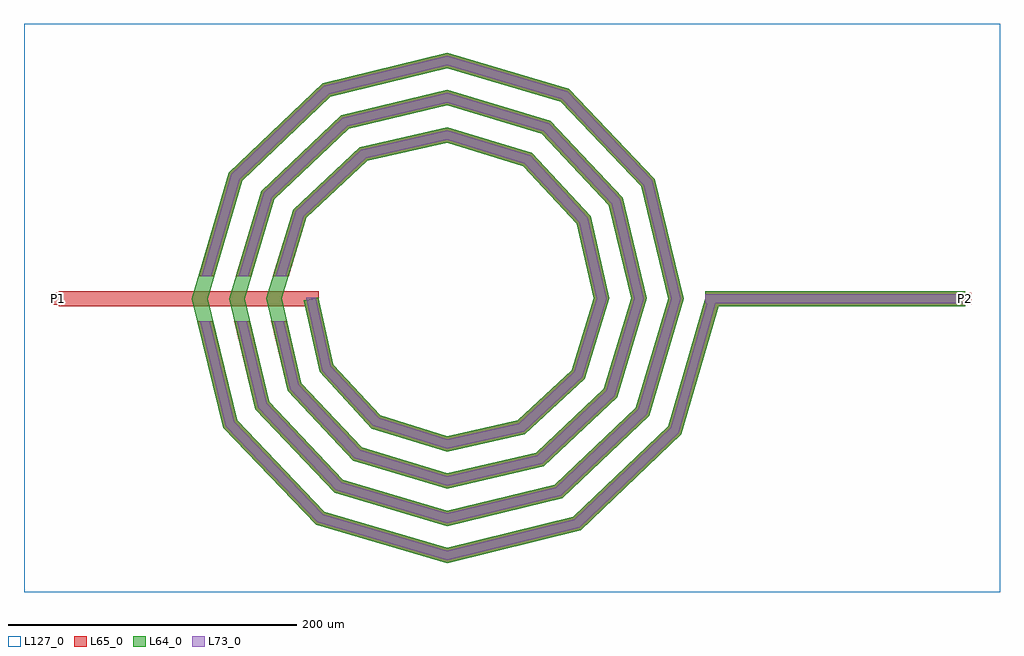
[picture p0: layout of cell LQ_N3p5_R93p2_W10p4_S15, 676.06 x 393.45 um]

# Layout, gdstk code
import gdstk
lib = gdstk.Library(unit=1e-6, precision=1e-09)
def R(c, l, rs):  # rectangles x0, y0, x1, y1
    for r in rs: c.add(gdstk.rectangle(r[:2], r[2:], *l))
def P(c, l, *ps):  # polygons
    for p in ps: c.add(gdstk.Polygon(p, *l))
L64_0 = (64, 0)
L65_0 = (65, 0)
L73_0 = (73, 0)
L127_0 = (127, 0)

lq_n3p5_r93p2_w10p4_s15 = lib.new_cell('LQ_N3p5_R93p2_W10p4_S15')
R(lq_n3p5_r93p2_w10p4_s15, L64_0, [(178.989,-5.2,358.989,5.2)])
P(lq_n3p5_r93p2_w10p4_s15, L64_0, [(-78.723,-45.708),(-46.397,-80.798),(0.213,-95.312),(48.907,-84.292),(86.353,-49.62),(101.734,0.201),(89.86,52.108),(52.841,91.909),(0.189,108.157),(-55.31,95.428),(-97.466,56.061),(-114.58,0.179),(-100.995,-58.513),(-59.281,-103.023),(0.17,-121.002),(61.716,-106.561),(108.581,-62.499),(127.425,0.162),(112.127,64.921),(65.717,114.14),(0.154,133.847),(-68.126,117.693),(-119.698,68.935),(-140.27,0.148),(-123.259,-71.331),(-72.152,-125.257),(0.141,-146.693),(74.538,-128.824),(130.817,-75.368),(153.115,0.136),(134.389,77.744),(78.584,136.376),(0.13,159.538),(-80.951,139.954),(-141.936,81.8),(-165.961,0.125),(-145.518,-84.158),(-85.015,-147.496),(0.121,-172.384),(87.366,-151.083),(153.056,-88.23),(179.196,1.455),(189.181,-1.455),(162.26,-93.817),(92.541,-160.525),(0.121,-183.148),(-90.61,-156.696),(-154.965,-89.326),(-176.725,0.125),(-151.131,87.402),(-86.11,149.405),(0.13,170.302),(84.195,145.566),(143.845,82.894),(163.879,0.136),(140.001,-80.988),(79.678,-138.285),(0.141,-157.456),(-77.782,-134.435),(-132.726,-76.461),(-151.033,0.148),(-128.87,74.576),(-73.244,127.167),(0.154,144.61),(71.371,123.304),(121.608,70.026),(138.187,0.162),(117.737,-68.166),(66.808,-116.049),(0.17,-131.764),(-64.961,-112.171),(-110.491,-63.589),(-125.341,0.179),(-106.603,61.758),(-60.369,104.933),(0.189,118.918),(58.556,101.035),(99.376,57.148),(112.495,0.201),(95.467,-55.354),(53.925,-93.819),(0.213,-106.072),(-52.154,-89.897),(-88.264,-50.702),(-99.344,-1.134),(-89.194,1.134)])
R(lq_n3p5_r93p2_w10p4_s15, L65_0, [(-269.069,-5.2,-89.069,5.2), (178.989,-5.2,358.989,5.2), (-273.069,-4,-265.069,4), (354.989,-4,362.989,4)])
P(lq_n3p5_r93p2_w10p4_s15, L65_0, [(-145.519,-84.158),(-85.015,-147.496),(0.121,-172.384),(87.366,-151.083),(153.056,-88.23),(179.197,1.455),(189.181,-1.455),(162.26,-93.817),(92.541,-160.525),(0.121,-183.148),(-90.61,-156.696),(-154.965,-89.326),(-172.9,-15.6),(-162.196,-15.6)],
  [(-123.259,-71.332),(-72.152,-125.257),(0.141,-146.693),(74.538,-128.824),(130.816,-75.368),(153.115,0.136),(134.389,77.744),(78.584,136.376),(0.13,159.538),(-80.951,139.954),(-141.936,81.8),(-161.349,15.6),(-172.187,15.6),(-151.131,87.402),(-86.11,149.405),(0.13,170.302),(84.195,145.566),(143.845,82.894),(163.879,0.136),(140.001,-80.988),(79.678,-138.285),(0.141,-157.456),(-77.782,-134.435),(-132.726,-76.461),(-147.27,-15.6),(-136.577,-15.6)],
  [(-100.995,-58.513),(-59.281,-103.023),(0.17,-121.002),(61.716,-106.561),(108.581,-62.499),(127.425,0.162),(112.127,64.921),(65.717,114.14),(0.154,133.847),(-68.126,117.693),(-119.698,68.935),(-135.581,15.6),(-146.432,15.6),(-128.87,74.576),(-73.244,127.167),(0.154,144.61),(71.371,123.304),(121.608,70.026),(138.187,0.162),(117.737,-68.166),(66.808,-116.049),(0.17,-131.764),(-64.962,-112.171),(-110.491,-63.589),(-121.667,-15.6),(-110.988,-15.6)],
  [(-46.397,-80.798),(0.214,-95.312),(48.908,-84.292),(86.353,-49.62),(101.735,0.201),(89.86,52.108),(52.841,91.909),(0.189,108.157),(-55.31,95.428),(-97.466,56.061),(-109.778,15.6),(-120.649,15.6),(-106.603,61.758),(-60.369,104.933),(0.189,118.918),(58.556,101.035),(99.376,57.148),(112.495,0.201),(95.467,-55.354),(53.925,-93.82),(0.214,-106.072),(-52.154,-89.898),(-88.264,-50.702),(-99.344,-1.134),(-89.194,1.134),(-78.723,-45.708)])
R(lq_n3p5_r93p2_w10p4_s15, L73_0, [(178.989,-3.2,358.989,3.2)])
P(lq_n3p5_r93p2_w10p4_s15, L73_0, [(-147.335,-85.152),(-86.091,-149.265),(0.074,-174.454),(88.361,-152.899),(154.826,-89.305),(181.117,0.895),(187.261,0.895),(160.49,-92.743),(91.546,-158.709),(0.074,-181.078),(-89.534,-154.926),(-153.148,-88.332),(-170.841,-15.6),(-164.255,-15.6)],
  [(-125.079,-72.318),(-73.234,-127.022),(0.087,-148.763),(75.526,-130.643),(132.583,-76.449),(155.185,0.084),(136.207,78.735),(79.663,138.143),(0.08,161.608),(-81.943,141.771),(-143.704,82.877),(-163.434,15.6),(-170.103,15.6),(-149.363,86.325),(-85.118,147.587),(0.08,168.232),(83.116,143.799),(142.026,81.904),(161.809,0.084),(138.235,-79.908),(78.689,-136.466),(0.087,-155.387),(-76.699,-132.67),(-130.905,-75.475),(-145.214,-15.6),(-138.634,-15.6)],
  [(-102.821,-59.489),(-60.373,-104.782),(0.105,-123.072),(62.696,-108.386),(110.342,-63.589),(129.494,0.1),(113.951,65.903),(66.805,115.902),(0.095,135.917),(-69.11,119.515),(-121.462,70.02),(-137.667,15.6),(-144.345,15.6),(-127.106,73.491),(-72.26,125.345),(0.095,142.541),(70.283,121.541),(119.785,69.044),(136.118,0.1),(115.977,-67.076),(65.829,-114.225),(0.105,-129.695),(-63.869,-110.412),(-108.665,-62.613),(-119.613,-15.6),(-113.042,-15.6)],
  [(-47.504,-82.548),(0.131,-97.381),(49.872,-86.124),(88.106,-50.722),(103.804,0.124),(91.69,53.077),(53.94,93.664),(0.117,110.226),(-56.283,97.256),(-99.223,57.157),(-111.869,15.6),(-118.558,15.6),(-104.846,60.663),(-59.396,103.105),(0.117,116.849),(57.457,99.28),(97.546,56.179),(110.426,0.124),(93.714,-54.251),(52.96,-91.987),(0.131,-104.003),(-51.047,-88.148),(-86.429,-49.741),(-97.392,0.698),(-91.146,0.698),(-80.558,-46.669)])
R(lq_n3p5_r93p2_w10p4_s15, L127_0, [(-293.069,-203.148,382.989,190.302)])
lq_n3p5_r93p2_w10p4_s15.add(gdstk.Label('P2', (358.989,0), layer=65, texttype=0))
lq_n3p5_r93p2_w10p4_s15.add(gdstk.Label('P1', (-269.069,0), layer=65, texttype=0))
lq_n3p5_r93p2_w10p4_s15.add(gdstk.Label('P2', (362.989,0), layer=145, texttype=0))
lq_n3p5_r93p2_w10p4_s15.add(gdstk.Label('P1', (-273.069,0), layer=145, texttype=0))

lib.write_gds('LQ_N3p5_R93p2_W10p4_S15.gds')
